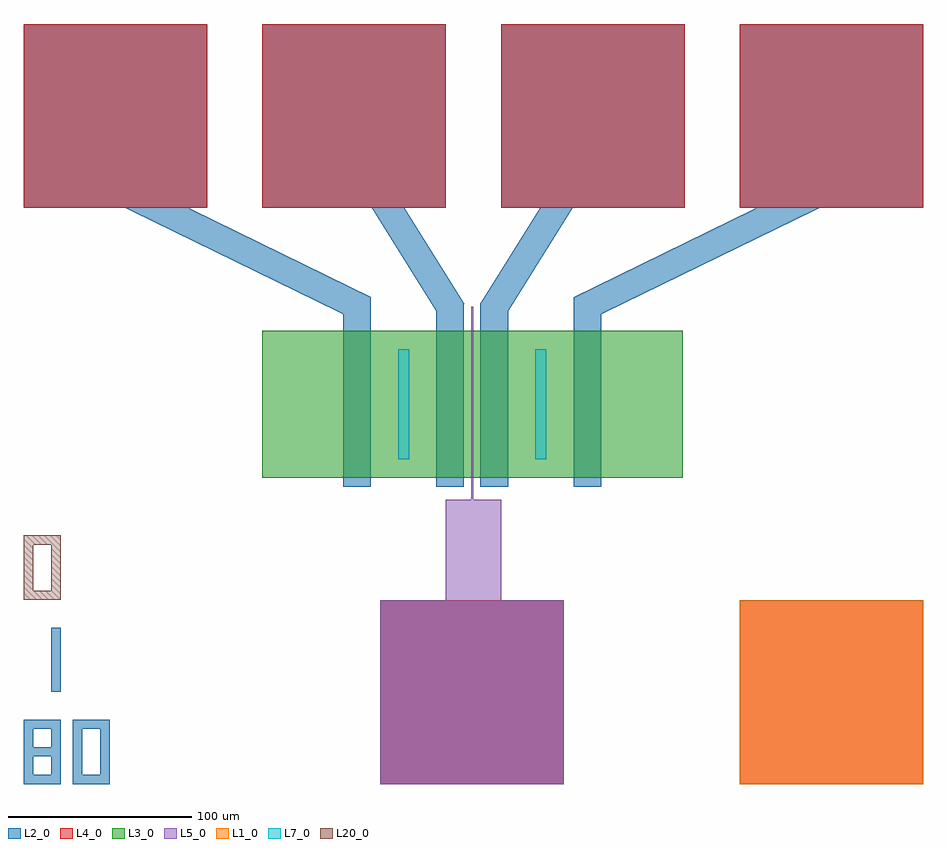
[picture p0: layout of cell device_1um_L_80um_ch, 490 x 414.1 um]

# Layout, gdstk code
import gdstk
lib = gdstk.Library(unit=1e-6, precision=5e-10)
def R(c, l, rs):  # rectangles x0, y0, x1, y1
    for r in rs: c.add(gdstk.rectangle(r[:2], r[2:], *l))
def A(c, l, x, y, w, h, nx, ny, dx, dy):  # array of equal rectangles
    R(c, l, [(x+i*dx, y+j*dy, x+i*dx+w, y+j*dy+h) for i in range(nx) for j in range(ny)])
def P(c, l, *ps):  # polygons
    for p in ps: c.add(gdstk.Polygon(p, *l))
L1_0 = (1, 0)
L2_0 = (2, 0)
L3_0 = (3, 0)
L4_0 = (4, 0)
L5_0 = (5, 0)
L7_0 = (7, 0)
L20_0 = (20, 0)

device_1um_l_80um_ch = lib.new_cell('device_1um_L_80um_ch')
R(device_1um_l_80um_ch, L1_0, [(390,0,490,100)])
A(device_1um_l_80um_ch, L2_0, 0, 0, 20, 5, 1, 3, 0, 15)
A(device_1um_l_80um_ch, L2_0, 0, 314.1, 100, 100, 4, 1, 130, 0)
R(device_1um_l_80um_ch, L2_0, [(0,0,5,35), (15,0,20,35), (26.7,0,46.7,5), (26.7,0,31.7,35), (41.7,0,46.7,35), (194.3,0,294.3,100), (26.7,30,46.7,35), (15,50.2,20,85.2), (174.1,161.9,189.1,265.2), (224.8,161.9,239.8,261.9), (248.8,161.9,263.8,261.9), (299.5,161.9,314.5,265.2)])
P(device_1um_l_80um_ch, L2_0, [(239.886,261.734),(186.893,346.539),(174.173,338.59),(227.166,253.785)],
  [(47.769,317.587),(182.588,251.831),(189.164,265.313),(54.344,331.068)],
  [(248.714,261.734),(301.707,346.539),(314.427,338.59),(261.434,253.785)],
  [(440.931,317.587),(306.112,251.831),(299.536,265.313),(434.356,331.068)])
R(device_1um_l_80um_ch, L3_0, [(130,166.9,359,246.9)])
A(device_1um_l_80um_ch, L4_0, 0, 314.1, 100, 100, 4, 1, 130, 0)
R(device_1um_l_80um_ch, L4_0, [(194.3,0,294.3,100), (390,0,490,100)])
R(device_1um_l_80um_ch, L5_0, [(194.3,0,294.3,100), (230,99.9,260,154.9), (243.8,100,244.8,260)])
R(device_1um_l_80um_ch, L7_0, [(203.95,176.9,209.95,236.9), (278.55,176.9,284.55,236.9)])
R(device_1um_l_80um_ch, L20_0, [(0,100.4,5,135.4), (0,100.4,20,105.4), (15,100.4,20,135.4), (0,130.4,20,135.4)])

lib.write_gds('device_1um_L_80um_ch.gds')
